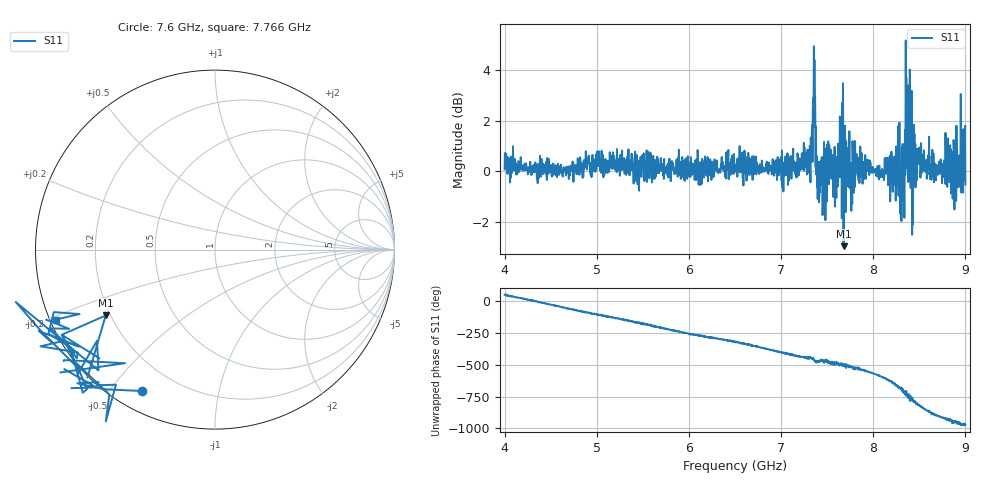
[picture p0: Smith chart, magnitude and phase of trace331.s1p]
! Created with skrf 1.8.0 (http://scikit-rf.org).
# Hz S RI R 50.0
!freq ReS11 ImS11
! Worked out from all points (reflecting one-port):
!   1601 points, 4 GHz to 9 GHz, reference 50 ohm
!   lowest |S11| = -3.0 dB at 7.678 GHz (marker M1), VSWR 5.92, Z = 9.08 - j13.5 ohm
!   phase of S11 starts at 53 deg and turns -1024 deg over the sweep
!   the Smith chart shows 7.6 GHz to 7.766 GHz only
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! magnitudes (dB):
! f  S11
! 4 GHz  0.1
! 4.625 GHz  -0.1
! 5.25 GHz  -0.2
! 5.875 GHz  0.2
! 6.5 GHz  0.1
! 7.125 GHz  0.6
! 7.294 GHz  0.0
! 7.316 GHz  -0.1
! 7.347 GHz  2.9
! 7.369 GHz  3.0
! 7.397 GHz  -1.1
! 7.409 GHz  0.0
! 7.525 GHz  0.9
! 7.609 GHz  -0.2
! 7.647 GHz  0.9
! 7.678 GHz  -3.0
! 7.75 GHz  0.1
! 8.259 GHz  0.9
! 8.312 GHz  0.9
! 8.325 GHz  0.5
! 8.334 GHz  -0.6
! 8.375 GHz  2.2
! 8.412 GHz  -0.5
! 8.447 GHz  1.5
! 8.466 GHz  -0.1
! 8.844 GHz  -0.9
! 8.972 GHz  0.3
! 9 GHz  -0.5
